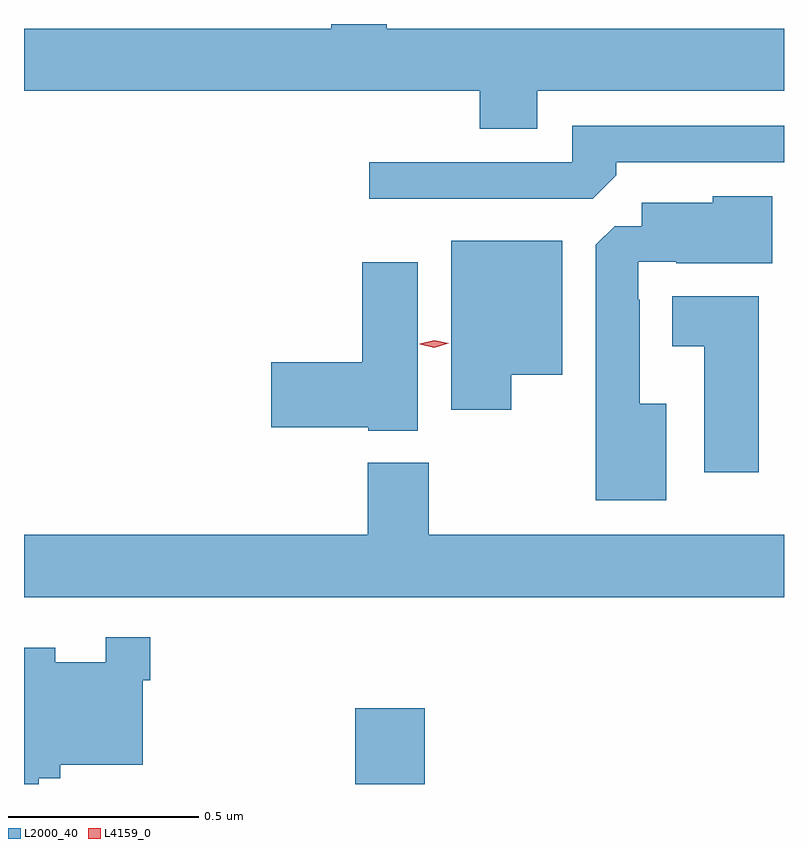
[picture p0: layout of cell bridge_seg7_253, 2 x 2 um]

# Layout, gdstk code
import gdstk
lib = gdstk.Library(unit=1e-6, precision=1e-09)
def R(c, l, rs):  # rectangles x0, y0, x1, y1
    for r in rs: c.add(gdstk.rectangle(r[:2], r[2:], *l))
def P(c, l, *ps):  # polygons
    for p in ps: c.add(gdstk.Polygon(p, *l))
L2000_40 = (2000, 40)
L4159_0 = (4159, 0)

bridge_seg7_253 = lib.new_cell('bridge_seg7_253')
R(bridge_seg7_253, L2000_40, [(180.65,1060.064,180.833,1060.264)])
P(bridge_seg7_253, L2000_40, [(181.129,1061.888),(181.778,1061.888),(181.778,1062.052),(180.733,1062.052),(180.733,1062.064),(180.586,1062.064),(180.586,1062.052),(179.778,1062.052),(179.778,1061.888),(180.977,1061.888),(180.977,1061.789),(181.129,1061.789)],
  [(181.337,1061.666),(181.337,1061.7),(181.778,1061.7),(181.778,1061.796),(181.221,1061.796),(181.221,1061.7),(180.687,1061.7),(180.687,1061.604),(181.275,1061.604)],
  [(181.468,1061.065),(181.399,1061.065),(181.399,1061.339),(181.395,1061.339),(181.395,1061.439),(181.495,1061.439),(181.495,1061.435),(181.747,1061.435),(181.747,1061.611),(181.59,1061.611),(181.59,1061.593),(181.403,1061.593),(181.403,1061.532),(181.332,1061.532),(181.283,1061.483),(181.283,1060.811),(181.468,1060.811)],
  [(181.06,1061.141),(181.195,1061.141),(181.195,1061.494),(180.902,1061.494),(180.902,1061.049),(181.06,1061.049)],
  [(180.814,1061.437),(180.668,1061.437),(180.668,1061.174),(180.429,1061.174),(180.429,1061.003),(180.684,1061.003),(180.684,1060.994),(180.814,1060.994)],
  [(181.711,1061.347),(181.484,1061.347),(181.484,1061.216),(181.568,1061.216),(181.568,1060.884),(181.711,1060.884)],
  [(181.778,1060.72),(180.843,1060.72),(180.843,1060.909),(180.683,1060.909),(180.683,1060.72),(179.778,1060.72),(179.778,1060.556),(181.778,1060.556)],
  [(179.817,1060.079),(179.873,1060.079),(179.873,1060.115),(180.09,1060.115),(180.09,1060.337),(180.11,1060.337),(180.11,1060.45),(179.993,1060.45),(179.993,1060.384),(179.86,1060.384),(179.86,1060.423),(179.778,1060.423),(179.778,1060.064),(179.817,1060.064)])
P(bridge_seg7_253, L4159_0, [(180.858,1061.212),(180.82,1061.221),(180.82,1061.221),(180.82,1061.222),(180.858,1061.232),(180.896,1061.224),(180.896,1061.224),(180.896,1061.224)])

lib.write_gds('bridge_seg7_253.gds')
